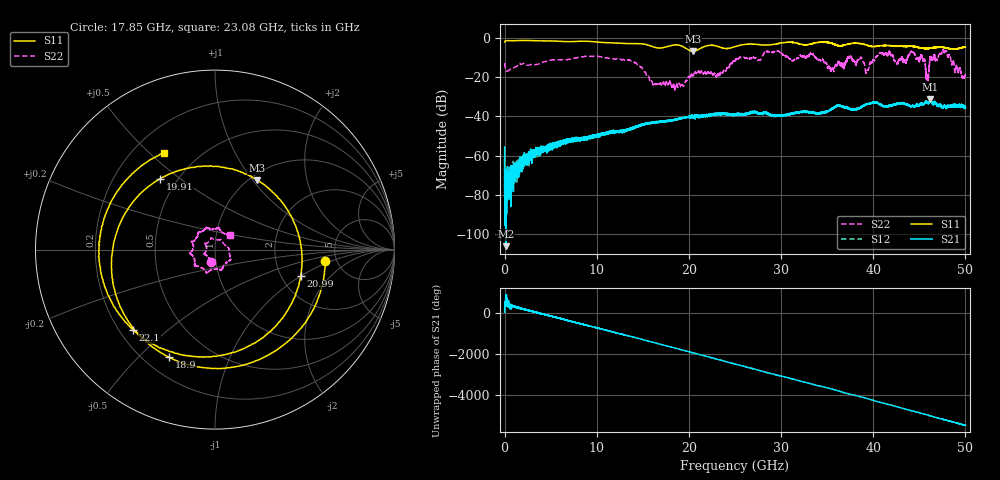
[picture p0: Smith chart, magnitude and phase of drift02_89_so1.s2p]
!Created with skrf (http://scikit-rf.org).
# Hz S RI R 50.0
!freq ReS11 ImS11 ReS21 ImS21 ReS12 ImS12 ReS22 ImS22
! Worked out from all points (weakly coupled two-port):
!   10001 points, 300 kHz to 50 GHz, reference 50 ohm
!   highest |S21| = -31.40 dB at 46.2 GHz (marker M1); lowest = -106.1 dB at 135.3 MHz (marker M2)
!   lowest |S11| = -6.9 dB at 20.41 GHz (marker M3), VSWR 2.64, Z = 54 + j52.3 ohm
!   |S11| at or under -10 dB: nowhere
!   |S22| runs from -26.5 to -6.0 dB; largest |S21 - S12| = 0.0029
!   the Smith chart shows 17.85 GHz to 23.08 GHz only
!   S11 on the Smith chart (normalised r, x): 17.85 GHz: 4.03, -0.83; 18.9 GHz: 0.30, -0.62; 19.91 GHz: 0.40, +0.43; 20.99 GHz: 2.54, -1.01; 22.1 GHz: 0.25, -0.38; 23.08 GHz: 0.32, +0.56
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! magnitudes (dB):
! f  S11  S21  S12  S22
! 300 kHz  -2.1  -55.7  -61.8  -12.8
! 135.3 MHz  -1.5  -106.1  -74.5  -16.7
! 3.15 GHz  -1.4  -58.2  -60.3  -13.5
! 8.335 GHz  -1.7  -50.9  -51.2  -9.7
! 13.71 GHz  -3.0  -46.7  -46.1  -11.7
! 16.67 GHz  -5.2  -42.9  -42.9  -23.8
! 17.85 GHz  -4.2  -42.3  -42.4  -22.7
! 18.9 GHz  -3.7  -41.2  -41.3  -23.7
! 19.91 GHz  -6.0  -40.3  -40.3  -19.9
! 20.41 GHz  -6.9  -40.3  -40.1  -19.1
! 20.99 GHz  -6.0  -40.3  -39.7  -16.7
! 22.1 GHz  -3.9  -39.6  -39.5  -17.5
! 23.08 GHz  -4.3  -38.7  -39.0  -18.7
! 25 GHz  -4.5  -39.0  -38.7  -11.6
! 33.34 GHz  -3.1  -37.7  -38.0  -8.4
! 39.33 GHz  -3.8  -33.9  -33.8  -16.6
! 41.67 GHz  -3.9  -34.7  -34.7  -7.7
! 44.27 GHz  -4.3  -34.5  -34.6  -7.5
! 45.86 GHz  -5.4  -32.9  -33.0  -19.4
! 46.2 GHz  -5.2  -31.4  -31.8  -9.5
! 47.75 GHz  -4.9  -34.6  -34.5  -7.3
! 50 GHz  -4.7  -35.5  -35.6  -18.4
